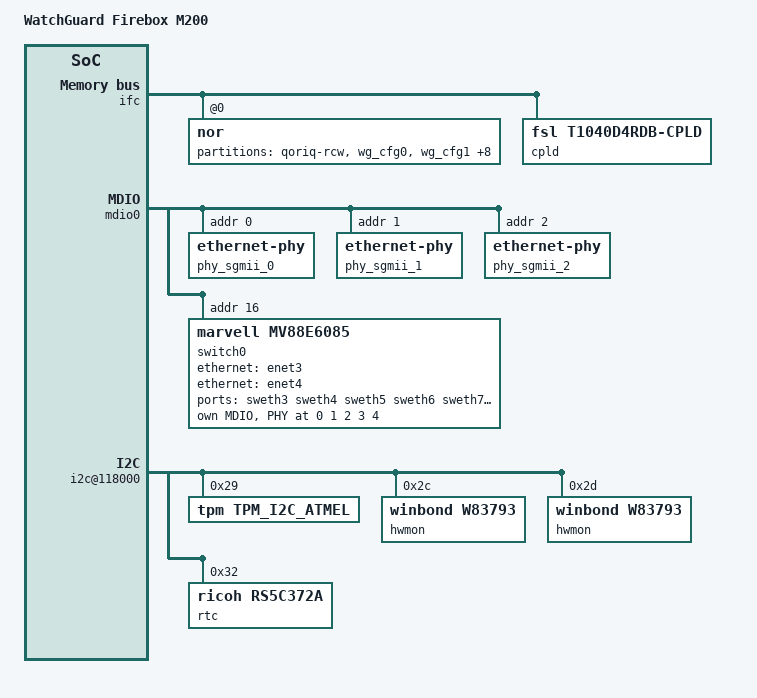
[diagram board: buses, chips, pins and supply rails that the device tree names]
// SPDX-License-Identifier: BSD-3-Clause OR GPL-2.0-or-later
/*
 * WatchGuard Firebox M200 Device Tree Source
 *
 *** Cannot get Rx to work whatever dts used, hopefully someone will be able to complete this one day. ***
 *
 * Basing on t1042d4rdb.dts and NOT t1042rdb_pi as used by OEM; its the closest fit of the RDB variants. Linux 5.10.109 
 * A dts based on t1042rdb_pi gets very convoluted in order to set the OpenWrt interface order in conparison.
 * From https://github.com/ARM-software/u-boot/blob/master/board/freescale/t104xrdb/README
	The T1042D4RDB is a Freescale reference board that hosts the T1042 SoC.
	The board is re-designed T1040RDB board with following changes :
	- Support of DDR4 memory
	- Support for 0x86 serdes protocol which can support following interfaces
		- 2 RGMII's on DTSEC4, DTSEC5
		- 3 SGMII on DTSEC1, DTSEC2 & DTSEC3
 * which tallies with this from uboot PBL log:
	Using SERDES1 Protocol: 134 (0x86)
 * and from uboot mdio command
	MB-M200 => mdio list
	FSL_MDIO0:
	0 - Marvell 88E1543 <--> FM1@DTSEC3
	1 - Marvell 88E1543 <--> FM1@DTSEC1
	2 - Marvell 88E1543 <--> FM1@DTSEC2
	4 - Marvell 88E6171 <--> FM1@DTSEC5
	16 - Marvell 88E6171 <--> FM1@DTSEC4
 * Would be worth testing the m200 with some DDR4 memory; we know it already works with the memory out of an m300

 * Copyright 2013 - 2015 Freescale Semiconductor Inc.
 * Copyright 2020 - 2021 Stijn Tintel <stijn@linux-ipv6.be>
 * Copyright 2022 Matt Fawcett <mattytap@gmail.com>
 */

/include/ "t104xsi-pre.dtsi"
/include/ "t104xd4rdb.dtsi"

/ {
	model = "WatchGuard Firebox M200";
	compatible = "watchguard,firebox-m200", "fsl,T1042D4RDB";
	#address-cells = <2>;
	#size-cells = <2>;
	interrupt-parent = <&mpic>;

	// ifc reg and range changes and partitions lifted from OEM
	ifc: localbus@ffe124000 {
		ranges = <0 0 0xf 0xefc00000 0x00400000>;

		nor@0,0 {
			reg = <0x0 0x0 0x400000>;

			partition@0{
				reg = <0x0 0x10000>;
				label = "qoriq-rcw";
				read-only;
			};

			partition@10000 {
				reg = <0x10000 0x20000>;
				label = "wg_cfg0";
				read-only;
			};

			partition@30000 {
				reg = <0x30000 0x10000>;
				label = "wg_cfg1";
				read-only;
			};

			partition@40000 {
				reg = <0x40000 0x10000>;
				label = "wg_mfg_data";
				read-only;
			};

			partition@50000 {
				reg = <0x50000 0xb0000>;
				label = "wg_bootopt_data_and_reserved";
				read-only;
			};

			partition@100000 {
				reg = <0x100000 0xb0000>;
				label = "wg_extra_reserved_1";
				read-only;
			};

			partition@1B0000 {
				reg = <0x1b0000 0xb0000>;
				label = "wg_extra_reserved_2";
				read-only;
			};

			partition@260000 {
				reg = <0x260000 0xc0000>;
				label = "wg_u-boot_failsafe";
				read-only;
			};

			partition@320000 {
				reg = <0x320000 0x10000>;
				label = "qoriq-fman";
				read-only;
			};

			partition@330000 {
				reg = <0x330000 0x10000>;
				label = "u-boot-env";
			};

			partition@340000 {
				reg = <0x340000 0xc0000>;
				label = "u-boot";
				read-only;
			};
		};

		nand@2,0 {
			status = "disabled";
		};

		cpld@3,0 {
			compatible = "fsl,t1040d4rdb-cpld",
					"fsl,deepsleep-cpld";
		};
	};

	soc: soc@ffe000000 {
		/delete-node/ ethernet-switch@800000;

		fman0: fman@400000 {

			// port 0 on PHY
			enet0: ethernet@e0000 {
				phy-handle = <&phy_sgmii_0>;
				phy-connection-type = "sgmii";
			};

			// port 1 on PHY
			enet1: ethernet@e2000 {
				phy-handle = <&phy_sgmii_1>;
				phy-connection-type = "sgmii";
			};

			// port 2 on PHY
			enet2: ethernet@e4000 {
				phy-handle = <&phy_sgmii_2>;
				phy-connection-type = "sgmii";
			};

			// port 3 on PHY
			// not connected

			//port 5 on marvell switch (not used currently but is on OEM)
			enet3: ethernet@e6000 {
				phy-connection-type = "rgmii";

				fixed-link {
					speed = <1000>;
					full-duplex;
				};
			};

			//port 6 on marvell switch
			enet4: ethernet@e8000 {
				phy-connection-type = "rgmii";

				fixed-link {
					speed = <1000>;
					full-duplex;
				};
			};

			mdio0: mdio@fc000 {
				phy_sgmii_0: ethernet-phy@0 {
					reg = <0>;
				};

				phy_sgmii_1: ethernet-phy@1 {
					reg = <1>;
				};

				phy_sgmii_2: ethernet-phy@2 {
					reg = <2>;
				};

				// Compliant with https://elixir.bootlin.com/linux/v5.10.109/source/Documentation/devicetree/bindings/net/dsa/marvell.txt
				// Based on similar switch in m300

				switch0: switch@10 {
					compatible = "marvell,mv88e6085";
					reg = <0x10>;

					mdio {
						#address-cells = <1>;
						#size-cells = <0>;

						// sweth3
						switch0phy0: switch0phy0@0 {
							reg = <0>;
							interrupt-parent = <&switch0>;
						};

						// sweth4
						switch0phy1: switch0phy1@1 {
							reg = <1>;
							interrupt-parent = <&switch0>;
						};

						// sweth5
						switch0phy2: switch0phy2@2 {
							reg = <2>;
							interrupt-parent = <&switch0>;
						};

						// sweth6
						switch0phy3: switch0phy3@3 {
							reg = <3>;
							interrupt-parent = <&switch0>;
						};

						// sweth7
						switch0phy4: switch0phy4@4 {
							reg = <4>;
							interrupt-parent = <&switch0>;
						};
					};

					ports {
						#address-cells = <1>;
						#size-cells = <0>;

						port@0 {
							reg = <0>;
							label = "sweth3";
							phy-handle = <&switch0phy0>;/home/matt/Development/openwrt/
						};

						port@1 {
							reg = <1>;
							label = "sweth4";
							phy-handle = <&switch0phy1>;
						};

						port@2 {
							reg = <2>;
							label = "sweth5";
							phy-handle = <&switch0phy2>;
						};

						port@3 {
							reg = <3>;
							label = "sweth6";
							phy-handle = <&switch0phy3>;
						};

						port@4 {
							reg = <4>;
							label = "sweth7";
							phy-handle = <&switch0phy4>;
						};

						// OEM bootlog suggests multiple ports are attached to switch
						// Keep this until OEM supplies GPL sources
						port@5 {
							status = "disabled";

							reg = <5>;
							label = "cpu";
							ethernet = <&enet3>;
							phy-mode = "rgmii-id";

							fixed-link {
								speed = <1000>;
								full-duplex;
							};
						};

						// requires rgmii-id (id for internal delay) for Tx
						port@6 {
							reg = <6>;
							label = "cpu";
							ethernet = <&enet4>;
							phy-mode = "rgmii-id";

							fixed-link {
								speed = <1000>;
								full-duplex;
							};
						};
					};
				};
			};
		};
		i2c@118000 {
			tpm@29 {
				compatible = "tpm,tpm_i2c_atmel";
				reg = <0x29>;
			};
			hwmon@2c {
				compatible = "winbond,w83793";
				reg = <0x2c>;
			};
			hwmon@2d {
				compatible = "winbond,w83793";
				reg = <0x2d>;
			};
			rtc@32 {
				compatible = "ricoh,rs5c372a";
				reg = <0x32>;
			};
			pca9547@77 {
				status = "disabled";
			};
		};
	};
};

#include "t1042si-post.dtsi"
